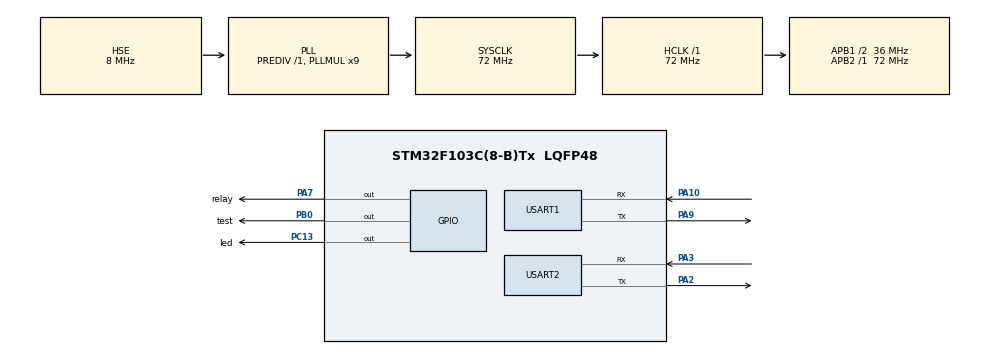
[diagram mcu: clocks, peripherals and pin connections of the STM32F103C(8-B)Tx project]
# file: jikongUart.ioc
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Mcu.Family=STM32F1
Mcu.Name=STM32F103C(8-B)Tx
Mcu.Package=LQFP48
NVIC.PriorityGroup=NVIC_PRIORITYGROUP_4
NVIC.USART1_IRQn=true\:0\:0\:false\:false\:true\:true\:true\:true
NVIC.USART2_IRQn=true\:0\:0\:false\:false\:true\:true\:true\:true
PA10.Mode=Asynchronous
PA10.Signal=USART1_RX
PA13.Mode=Serial_Wire
PA13.Signal=SYS_JTMS-SWDIO
PA14.Mode=Serial_Wire
PA14.Signal=SYS_JTCK-SWCLK
PA2.Mode=Asynchronous
PA2.Signal=USART2_TX
PA3.Mode=Asynchronous
PA3.Signal=USART2_RX
PA7.GPIO_Label=relay
PA7.Signal=GPIO_Output
PA9.Mode=Asynchronous
PA9.Signal=USART1_TX
PB0.GPIO_Label=test
PB0.Signal=GPIO_Output
PC13-TAMPER-RTC.GPIO_Label=led
PC13-TAMPER-RTC.GPIO_ModeDefaultOutputPP=GPIO_MODE_OUTPUT_PP
PC13-TAMPER-RTC.GPIO_PuPd=GPIO_NOPULL
PC13-TAMPER-RTC.PinState=GPIO_PIN_SET
PC13-TAMPER-RTC.Signal=GPIO_Output
PC14-OSC32_IN.Mode=LSE-External-Oscillator
PC14-OSC32_IN.Signal=RCC_OSC32_IN
PC15-OSC32_OUT.Mode=LSE-External-Oscillator
PC15-OSC32_OUT.Signal=RCC_OSC32_OUT
PD0-OSC_IN.Mode=HSE-External-Oscillator
PD0-OSC_IN.Signal=RCC_OSC_IN
PD1-OSC_OUT.Mode=HSE-External-Oscillator
PD1-OSC_OUT.Signal=RCC_OSC_OUT
ProjectManager.HeapSize=0x200
ProjectManager.StackSize=0x400
ProjectManager.TargetToolchain=STM32CubeIDE
RCC.AHBFreq_Value=72000000
RCC.APB1CLKDivider=RCC_HCLK_DIV2
RCC.APB1Freq_Value=36000000
RCC.APB1TimFreq_Value=72000000
RCC.APB2Freq_Value=72000000
RCC.APB2TimFreq_Value=72000000
RCC.HCLKFreq_Value=72000000
RCC.PLLMUL=RCC_PLL_MUL9
RCC.PLLSourceVirtual=RCC_PLLSOURCE_HSE
RCC.RTCClockSelection=RCC_RTCCLKSOURCE_LSE
RCC.SYSCLKFreq_VALUE=72000000
RCC.SYSCLKSource=RCC_SYSCLKSOURCE_PLLCLK
RCC.USBFreq_Value=72000000
RTC.AutoPrediv=RTC_AUTO_1_SECOND
RTC.Format=RTC_FORMAT_BIN
RTC.OutPut=RTC_OUTPUTSOURCE_NONE
USART1.VirtualMode=VM_ASYNC
USART2.VirtualMode=VM_ASYNC
VP_RTC_No_RTC_Output.Mode=RTC_OUT_NO
VP_RTC_VS_RTC_Activate.Mode=RTC_Enabled
board=custom

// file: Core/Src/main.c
/* USER CODE BEGIN Header */
/**
  ******************************************************************************
  * @file           : main.c
  * @brief          : Main program body
  ******************************************************************************
  * @attention
  *
  * Copyright (c) 2024 STMicroelectronics.
  * All rights reserved.
  *
  * This software is licensed under terms that can be found in the LICENSE file
  * in the root directory of this software component.
  * If no LICENSE file comes with this software, it is provided AS-IS.
  *
  ******************************************************************************
  */
/* USER CODE END Header */
#include "main.h"

RTC_HandleTypeDef hrtc;

UART_HandleTypeDef huart1;
UART_HandleTypeDef huart2;

/* USER CODE BEGIN PV */
RTC_TimeTypeDef sTime;
uint32_t globalHours, globalMinutes, timeToUartTransmit, timeToCheckTime, percentBat = 0;
int Hours, Minutes  = 0;
uint8_t dataPCOk, dataBMSOk = 0;
uint8_t bufRxPC [50];
uint8_t bufTxPC [50] = {0};
uint8_t bufRxBMS [280];   // всего 269
uint8_t bufTxBMS [25] = { 0x4E, 0x57, 0x00, 0x13, 0x00, 0x00, 0x00, 0x00, 0x06, 0x03,
		0x00, 0x00, 0x00, 0x00, 0x00, 0x00, 0x68, 0x00, 0x00, 0x01, 0x29};
/* USER CODE END PV */

void SystemClock_Config(void);
static void MX_GPIO_Init(void);
static void MX_USART1_UART_Init(void);
static void MX_RTC_Init(void);
static void MX_USART2_UART_Init(void);

/* USER CODE BEGIN 0 */
void setTime (uint32_t hours, uint32_t minuts) {                         // установка времени
	if (hours > 24 || minuts > 59) return;                               // защита от дурака
    sTime.Hours = hours;
    sTime.Minutes = minuts;
    sTime.Seconds = 0;
    if (HAL_RTC_SetTime(&hrtc, &sTime, RTC_FORMAT_BIN) != HAL_OK) {
           Error_Handler();                                              // Обработка ошибки
    }
}
/* USER CODE END 0 */

int main(void)
{

  /* MCU Configuration--------------------------------------------------------*/

  /* Reset of all peripherals, Initializes the Flash interface and the Systick. */
  HAL_Init();

  /* Configure the system clock */
  SystemClock_Config();

  /* Initialize all configured peripherals */
  MX_GPIO_Init();
  MX_USART1_UART_Init();
  MX_RTC_Init();
  MX_USART2_UART_Init();

  /* Infinite loop */
  /* USER CODE BEGIN WHILE */
  __HAL_UART_ENABLE_IT(&huart1, UART_IT_IDLE);  // Включаем прерывание по IDLE линии
  __HAL_UART_ENABLE_IT(&huart2, UART_IT_IDLE);  // Включаем прерывание по IDLE линии

  //setTime (10, 0);
  HAL_UART_Receive_IT(&huart1, bufRxPC, 11);     				  // запускаем прием данных
  HAL_GPIO_WritePin(relay_GPIO_Port, relay_Pin, GPIO_PIN_RESET);  // выключим реле
  timeToCheckTime = HAL_GetTick();                                // захват таймера
  while (1)
  {
    /* USER CODE END WHILE */

    /* USER CODE BEGIN 3 */
	  if (dataPCOk) {                                                       // если есть новые данные
		  if ((bufRxPC [0] == 'T') && bufRxPC [10] == ';') {                // проверим стартовый и стоповый байт
			  sscanf((char*)bufRxPC, "Time %2d:%2d;", &Hours, &Minutes);
			  setTime (Hours, Minutes);
			  bufRxPC [0] = 0;
			  bufRxPC [10] = 0;
		  }
		  dataPCOk = 0;                                                     // сбросим готовность
		  HAL_UART_AbortReceive_IT (&huart1);                               // выключим прием
		  HAL_UART_Receive_IT(&huart1, bufRxPC, 11);                        // Снова запускаем прием данных
	  }

	  if (dataBMSOk) {                                                      // если есть данные с бмс
		  if (bufRxBMS [0] == 0x4E && bufRxBMS [67] == 0x85) { //0x85       // проверим валидность
			  percentBat = bufRxBMS [68];                                   // считаем проценты
		  }
		  dataBMSOk = 0;
	  }

	  if (HAL_GetTick() - timeToCheckTime >= TIME_TO_CHECK) {               // переодическая функция
		  HAL_RTC_GetTime(&hrtc, &sTime, RTC_FORMAT_BIN);                   // получаем время
		  timeToCheckTime = HAL_GetTick();
		  sprintf((char*)bufTxPC , "Time %02d:%02d:%02d Battery: %02d %%", (int)sTime.Hours, (int)sTime.Minutes, (int)sTime.Seconds, (int)percentBat);
		  HAL_UART_Transmit_IT (&huart1, bufTxPC, 27);                      // отправляем в юарты данные
		  HAL_UART_Transmit_IT (&huart2, bufTxBMS, 21);
		  HAL_UART_Receive_IT (&huart2, bufRxBMS, 267);
		  HAL_GPIO_TogglePin(led_GPIO_Port, led_Pin);                       // моргаем лампочкой
		  HAL_GPIO_TogglePin(test_GPIO_Port, test_Pin);
	  }

	  if (percentBat >= 1 && percentBat <= 100) {                           // алгоритм включения/выключения
		  if (percentBat <= FORCE_ENABLE_CHARGE) {                          // если заряда меньше чем минимум зарядить в любом случае
			  HAL_GPIO_WritePin(relay_GPIO_Port, relay_Pin, GPIO_PIN_SET);
		  }
		  else if (percentBat <= ON_CHARGE && (sTime.Hours >= TIME_NIGHT1 || sTime.Hours < TIME_NIGHT2)) {   // если заряда меньше чем порог включения и нужное время
			  HAL_GPIO_WritePin(relay_GPIO_Port, relay_Pin, GPIO_PIN_SET);                                   // заряжаем
		  }
		  else if (percentBat >= MAX_CHARGE || (sTime.Hours < TIME_NIGHT1 && sTime.Hours >= TIME_NIGHT2)) {  // если выше максимального заряда или время не подходящее
			  HAL_GPIO_WritePin(relay_GPIO_Port, relay_Pin, GPIO_PIN_RESET);                                 // выключить заряд
		  }
	  }
  }
  /* USER CODE END 3 */
}

void SystemClock_Config(void)
{
  RCC_OscInitTypeDef RCC_OscInitStruct = {0};
  RCC_ClkInitTypeDef RCC_ClkInitStruct = {0};
  RCC_PeriphCLKInitTypeDef PeriphClkInit = {0};

  /** Initializes the RCC Oscillators according to the specified parameters
  * in the RCC_OscInitTypeDef structure.
  */
  RCC_OscInitStruct.OscillatorType = RCC_OSCILLATORTYPE_HSE|RCC_OSCILLATORTYPE_LSE;
  RCC_OscInitStruct.HSEState = RCC_HSE_ON;
  RCC_OscInitStruct.HSEPredivValue = RCC_HSE_PREDIV_DIV1;
  RCC_OscInitStruct.LSEState = RCC_LSE_ON;
  RCC_OscInitStruct.HSIState = RCC_HSI_ON;
  RCC_OscInitStruct.PLL.PLLState = RCC_PLL_ON;
  RCC_OscInitStruct.PLL.PLLSource = RCC_PLLSOURCE_HSE;
  RCC_OscInitStruct.PLL.PLLMUL = RCC_PLL_MUL9;
  if (HAL_RCC_OscConfig(&RCC_OscInitStruct) != HAL_OK)
  {
    Error_Handler();
  }

  /** Initializes the CPU, AHB and APB buses clocks
  */
  RCC_ClkInitStruct.ClockType = RCC_CLOCKTYPE_HCLK|RCC_CLOCKTYPE_SYSCLK
                              |RCC_CLOCKTYPE_PCLK1|RCC_CLOCKTYPE_PCLK2;
  RCC_ClkInitStruct.SYSCLKSource = RCC_SYSCLKSOURCE_PLLCLK;
  RCC_ClkInitStruct.AHBCLKDivider = RCC_SYSCLK_DIV1;
  RCC_ClkInitStruct.APB1CLKDivider = RCC_HCLK_DIV2;
  RCC_ClkInitStruct.APB2CLKDivider = RCC_HCLK_DIV1;

  if (HAL_RCC_ClockConfig(&RCC_ClkInitStruct, FLASH_LATENCY_2) != HAL_OK)
  {
    Error_Handler();
  }
  PeriphClkInit.PeriphClockSelection = RCC_PERIPHCLK_RTC;
  PeriphClkInit.RTCClockSelection = RCC_RTCCLKSOURCE_LSE;
  if (HAL_RCCEx_PeriphCLKConfig(&PeriphClkInit) != HAL_OK)
  {
    Error_Handler();
  }
}

static void MX_RTC_Init(void)
{

  //RTC_TimeTypeDef sTime = {0};
  RTC_DateTypeDef DateToUpdate = {0};

  /** Initialize RTC Only
  */
  hrtc.Instance = RTC;
  hrtc.Init.AsynchPrediv = RTC_AUTO_1_SECOND;
  hrtc.Init.OutPut = RTC_OUTPUTSOURCE_NONE;
  if (HAL_RTC_Init(&hrtc) != HAL_OK)
  {
    Error_Handler();
  }

  /** Initialize RTC and set the Time and Date
  */
  /*
  sTime.Hours = 0;
  sTime.Minutes = 0;
  sTime.Seconds = 0;

  if (HAL_RTC_SetTime(&hrtc, &sTime, RTC_FORMAT_BIN) != HAL_OK)
  {
    Error_Handler();
  }*/
  DateToUpdate.WeekDay = RTC_WEEKDAY_MONDAY;
  DateToUpdate.Month = RTC_MONTH_JANUARY;
  DateToUpdate.Date = 1;
  DateToUpdate.Year = 0;

  if (HAL_RTC_SetDate(&hrtc, &DateToUpdate, RTC_FORMAT_BIN) != HAL_OK)
  {
    Error_Handler();
  }

}

static void MX_USART1_UART_Init(void)
{

  huart1.Instance = USART1;
  huart1.Init.BaudRate = 115200;
  huart1.Init.WordLength = UART_WORDLENGTH_8B;
  huart1.Init.StopBits = UART_STOPBITS_1;
  huart1.Init.Parity = UART_PARITY_NONE;
  huart1.Init.Mode = UART_MODE_TX_RX;
  huart1.Init.HwFlowCtl = UART_HWCONTROL_NONE;
  huart1.Init.OverSampling = UART_OVERSAMPLING_16;
  if (HAL_UART_Init(&huart1) != HAL_OK)
  {
    Error_Handler();
  }

}

static void MX_USART2_UART_Init(void)
{

  huart2.Instance = USART2;
  huart2.Init.BaudRate = 115200;
  huart2.Init.WordLength = UART_WORDLENGTH_8B;
  huart2.Init.StopBits = UART_STOPBITS_1;
  huart2.Init.Parity = UART_PARITY_NONE;
  huart2.Init.Mode = UART_MODE_TX_RX;
  huart2.Init.HwFlowCtl = UART_HWCONTROL_NONE;
  huart2.Init.OverSampling = UART_OVERSAMPLING_16;
  if (HAL_UART_Init(&huart2) != HAL_OK)
  {
    Error_Handler();
  }

}

static void MX_GPIO_Init(void)
{
  GPIO_InitTypeDef GPIO_InitStruct = {0};

  /* GPIO Ports Clock Enable */
  __HAL_RCC_GPIOC_CLK_ENABLE();
  __HAL_RCC_GPIOD_CLK_ENABLE();
  __HAL_RCC_GPIOA_CLK_ENABLE();
  __HAL_RCC_GPIOB_CLK_ENABLE();

  /*Configure GPIO pin Output Level */
  HAL_GPIO_WritePin(led_GPIO_Port, led_Pin, GPIO_PIN_SET);

  /*Configure GPIO pin Output Level */
  HAL_GPIO_WritePin(relay_GPIO_Port, relay_Pin, GPIO_PIN_RESET);

  /*Configure GPIO pin Output Level */
  HAL_GPIO_WritePin(test_GPIO_Port, test_Pin, GPIO_PIN_RESET);

  /*Configure GPIO pin : led_Pin */
  GPIO_InitStruct.Pin = led_Pin;
  GPIO_InitStruct.Mode = GPIO_MODE_OUTPUT_PP;
  GPIO_InitStruct.Pull = GPIO_NOPULL;
  GPIO_InitStruct.Speed = GPIO_SPEED_FREQ_LOW;
  HAL_GPIO_Init(led_GPIO_Port, &GPIO_InitStruct);

  /*Configure GPIO pin : relay_Pin */
  GPIO_InitStruct.Pin = relay_Pin;
  GPIO_InitStruct.Mode = GPIO_MODE_OUTPUT_PP;
  GPIO_InitStruct.Pull = GPIO_NOPULL;
  GPIO_InitStruct.Speed = GPIO_SPEED_FREQ_LOW;
  HAL_GPIO_Init(relay_GPIO_Port, &GPIO_InitStruct);

  /*Configure GPIO pin : test_Pin */
  GPIO_InitStruct.Pin = test_Pin;
  GPIO_InitStruct.Mode = GPIO_MODE_OUTPUT_PP;
  GPIO_InitStruct.Pull = GPIO_NOPULL;
  GPIO_InitStruct.Speed = GPIO_SPEED_FREQ_LOW;
  HAL_GPIO_Init(test_GPIO_Port, &GPIO_InitStruct);

}

void Error_Handler(void)
{
  __disable_irq();
  while (1)
  {
  }
}
